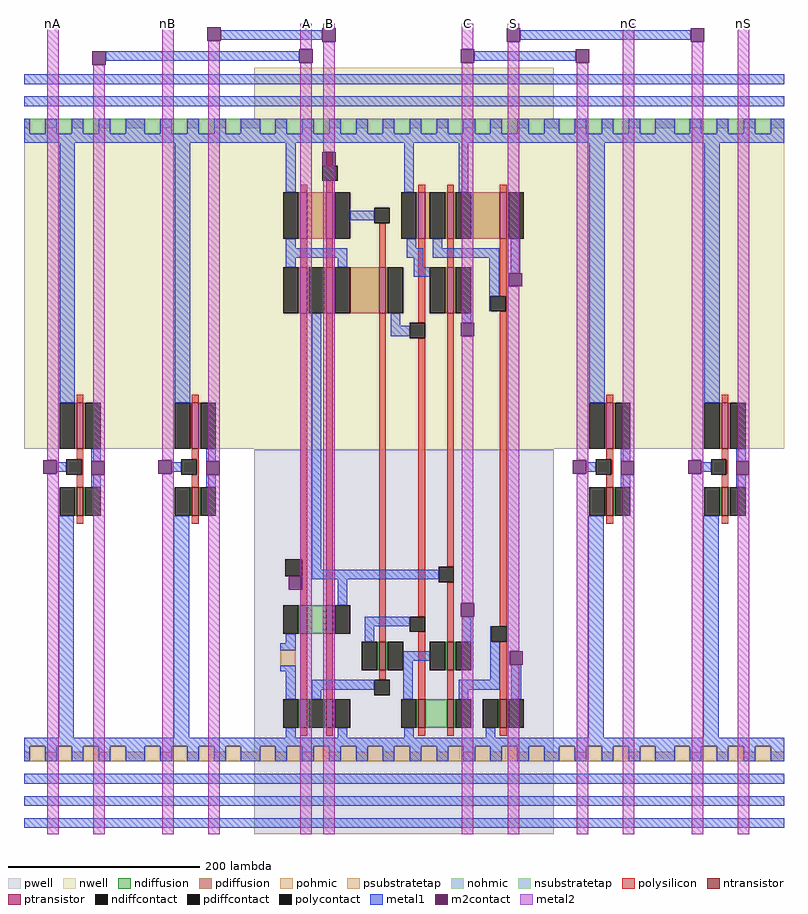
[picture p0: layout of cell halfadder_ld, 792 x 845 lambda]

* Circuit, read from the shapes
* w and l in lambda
.subckt halfadder_ld A B C GND! S Vdd! nA nB nC nS
M1 A nA GND! VSUBS nfet w=30 l=7
M2 B nB GND! VSUBS nfet w=30 l=7
M3 n1 A GND! VSUBS nfet w=30 l=7
M4 n2 A n3 VSUBS nfet w=30 l=7
M5 GND! B n1 VSUBS nfet w=30 l=7
M6 n4 B n2 VSUBS nfet w=30 l=7
M7 GND! n1 n5 VSUBS nfet w=30 l=7
M8 n6 n5 GND! VSUBS nfet w=30 l=7
M9 n7 n4 n6 VSUBS nfet w=30 l=7
M10 C n4 GND! VSUBS nfet w=30 l=7
M11 S n7 GND! VSUBS nfet w=30 l=7
M12 nC C GND! VSUBS nfet w=30 l=7
M13 nS S GND! VSUBS nfet w=30 l=7
M14 A nA Vdd! n8 pfet w=48 l=7
M15 B nB Vdd! n8 pfet w=48 l=7
M16 n4 A Vdd! n8 pfet w=48 l=7
M17 n9 A Vdd! n8 pfet w=48 l=7
M18 Vdd! B n4 n8 pfet w=48 l=7
M19 n1 B n9 n8 pfet w=48 l=7
M20 n5 n1 Vdd! n8 pfet w=48 l=7
M21 n7 n5 Vdd! n8 pfet w=48 l=7
M22 C n4 Vdd! n8 pfet w=48 l=7
M23 Vdd! n4 n7 n8 pfet w=48 l=7
M24 S n7 Vdd! n8 pfet w=48 l=7
M25 nC C Vdd! n8 pfet w=48 l=7
M26 nS S Vdd! n8 pfet w=48 l=7
.ends

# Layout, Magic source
magic
tech c035u
<< metal1 >>
rect 205 828 311 838
rect 517 828 695 838
rect 85 806 287 816
rect 469 806 575 816
<< m2contact >>
rect 191 827 205 841
rect 311 826 325 840
rect 503 826 517 840
rect 695 826 709 840
rect 71 802 85 816
rect 287 804 301 818
rect 455 804 469 818
rect 575 804 589 818
<< metal2 >>
rect 24 799 36 845
rect 72 799 84 802
rect 144 799 156 845
rect 192 799 204 827
rect 288 818 300 845
rect 312 840 324 845
rect 288 799 300 804
rect 312 799 324 826
rect 456 818 468 845
rect 504 840 516 845
rect 456 799 468 804
rect 504 799 516 826
rect 576 799 588 804
rect 624 799 636 845
rect 696 799 708 826
rect 744 799 756 845
use inv inv_1
transform 1 0 0 0 1 0
box 0 0 120 799
use inv inv_0
transform 1 0 120 0 1 0
box 0 0 120 799
use halfadder halfadder_0
transform 1 0 240 0 1 0
box 0 0 312 799
use inv inv_2
transform 1 0 552 0 1 0
box 0 0 120 799
use inv inv_3
transform 1 0 672 0 1 0
box 0 0 120 799
<< labels >>
rlabel metal2 24 845 36 845 5 nA
rlabel metal2 144 845 156 845 5 nB
rlabel metal2 288 845 300 845 5 A
rlabel metal2 312 845 324 845 5 B
rlabel metal2 456 845 468 845 5 C
rlabel metal2 504 845 516 845 5 S
rlabel metal2 624 845 636 845 5 nC
rlabel metal2 744 845 756 845 5 nS
<< end >>

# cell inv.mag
magic
tech c035u
<< nwell >>
rect 0 402 120 746
<< polysilicon >>
rect 55 450 62 458
rect 55 391 62 402
rect 60 375 62 391
rect 55 362 62 375
rect 55 324 62 332
<< ndiffusion >>
rect 53 332 55 362
rect 62 332 64 362
<< pdiffusion >>
rect 53 402 55 450
rect 62 402 64 450
<< pohmic >>
rect 0 76 6 86
rect 22 76 34 86
rect 50 76 62 86
rect 78 76 90 86
rect 106 76 120 86
<< nohmic >>
rect 0 736 6 746
rect 22 736 34 746
rect 50 736 62 746
rect 78 736 90 746
rect 106 736 120 746
<< ntransistor >>
rect 55 332 62 362
<< ptransistor >>
rect 55 402 62 450
<< polycontact >>
rect 44 375 60 391
<< ndiffcontact >>
rect 37 332 53 362
rect 64 332 80 362
<< pdiffcontact >>
rect 37 402 53 450
rect 64 402 80 450
<< psubstratetap >>
rect 6 76 22 92
rect 34 76 50 92
rect 62 76 78 92
rect 90 76 106 92
<< nsubstratetap >>
rect 6 730 22 746
rect 34 730 50 746
rect 62 730 78 746
rect 90 730 106 746
<< metal1 >>
rect 0 782 120 792
rect 0 759 120 769
rect 0 730 6 746
rect 22 730 34 746
rect 50 730 62 746
rect 78 730 90 746
rect 106 730 120 746
rect 0 721 120 730
rect 37 450 53 721
rect 34 378 44 388
rect 70 389 80 402
rect 70 362 80 375
rect 36 101 52 332
rect 0 92 120 101
rect 0 76 6 92
rect 22 76 34 92
rect 50 76 62 92
rect 78 76 90 92
rect 106 76 120 92
rect 0 53 120 63
rect 0 30 120 40
rect 0 7 120 17
<< m2contact >>
rect 20 376 34 390
rect 70 375 84 389
<< metal2 >>
rect 24 390 36 799
rect 34 376 36 390
rect 72 389 84 799
rect 24 0 36 376
rect 72 0 84 375
<< labels >>
rlabel metal1 0 721 0 746 7 Vdd!
rlabel metal1 0 759 0 769 7 Scan
rlabel metal1 0 782 0 792 6 ScanReturn
rlabel metal1 120 721 120 746 7 Vdd!
rlabel metal1 120 759 120 769 7 Scan
rlabel metal1 120 782 120 792 6 ScanReturn
rlabel metal2 24 799 36 799 5 A
rlabel metal2 72 799 84 799 5 Y
rlabel metal1 0 76 0 101 7 GND!
rlabel metal1 0 53 0 63 7 Clock
rlabel metal1 0 30 0 40 7 Test
rlabel metal1 0 7 0 17 8 nReset
rlabel metal1 120 7 120 17 8 nReset
rlabel metal1 120 30 120 40 7 Test
rlabel metal1 120 53 120 63 7 Clock
rlabel metal1 120 76 120 101 7 GND!
rlabel metal2 24 0 36 0 1 A
rlabel metal2 72 0 84 0 1 Y
<< end >>

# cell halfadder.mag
magic
tech c035u
<< nwell >>
rect 0 401 312 799
<< pwell >>
rect 0 0 312 401
<< polysilicon >>
rect 75 697 82 711
rect 48 669 55 677
rect 75 669 82 681
rect 171 669 178 677
rect 201 669 208 677
rect 256 669 263 677
rect 48 591 55 621
rect 75 591 82 621
rect 130 591 137 637
rect 48 287 55 543
rect 50 269 55 287
rect 48 239 55 269
rect 75 239 82 543
rect 48 141 55 209
rect 75 141 82 209
rect 130 201 137 543
rect 171 533 178 621
rect 201 591 208 621
rect 256 561 263 621
rect 262 545 263 561
rect 171 227 178 517
rect 201 279 208 543
rect 130 161 137 171
rect 171 141 178 211
rect 201 201 208 263
rect 256 217 263 545
rect 201 141 208 171
rect 256 141 263 201
rect 48 103 55 111
rect 75 103 82 111
rect 171 103 178 111
rect 201 103 208 111
rect 256 103 263 111
<< ndiffusion >>
rect 46 209 48 239
rect 55 209 75 239
rect 82 209 84 239
rect 128 171 130 201
rect 137 171 139 201
rect 199 171 201 201
rect 208 171 210 201
rect 46 111 48 141
rect 55 111 57 141
rect 73 111 75 141
rect 82 111 84 141
rect 169 111 171 141
rect 178 111 201 141
rect 208 111 210 141
rect 254 111 256 141
rect 263 111 265 141
<< pdiffusion >>
rect 46 621 48 669
rect 55 621 75 669
rect 82 621 84 669
rect 169 621 171 669
rect 178 621 183 669
rect 199 621 201 669
rect 208 621 210 669
rect 226 621 256 669
rect 263 621 265 669
rect 46 543 48 591
rect 55 543 57 591
rect 73 543 75 591
rect 82 543 84 591
rect 100 543 130 591
rect 137 543 139 591
rect 199 543 201 591
rect 208 543 210 591
<< pohmic >>
rect 0 76 6 86
rect 22 76 34 86
rect 50 76 62 86
rect 78 76 90 86
rect 106 76 118 86
rect 134 76 146 86
rect 162 76 174 86
rect 190 76 202 86
rect 218 76 230 86
rect 246 76 258 86
rect 274 76 286 86
rect 302 76 312 86
<< nohmic >>
rect 0 736 6 746
rect 22 736 34 746
rect 50 736 62 746
rect 78 736 90 746
rect 106 736 118 746
rect 134 736 146 746
rect 162 736 174 746
rect 190 736 202 746
rect 218 736 230 746
rect 246 736 258 746
rect 274 736 286 746
rect 302 736 312 746
<< ntransistor >>
rect 48 209 55 239
rect 75 209 82 239
rect 130 171 137 201
rect 201 171 208 201
rect 48 111 55 141
rect 75 111 82 141
rect 171 111 178 141
rect 201 111 208 141
rect 256 111 263 141
<< ptransistor >>
rect 48 621 55 669
rect 75 621 82 669
rect 171 621 178 669
rect 201 621 208 669
rect 256 621 263 669
rect 48 543 55 591
rect 75 543 82 591
rect 130 543 137 591
rect 201 543 208 591
<< polycontact >>
rect 71 681 87 697
rect 125 637 141 653
rect 32 269 50 287
rect 246 545 262 561
rect 162 517 178 533
rect 192 263 208 279
rect 162 211 178 227
rect 125 145 141 161
rect 247 201 263 217
<< ndiffcontact >>
rect 30 209 46 239
rect 84 209 100 239
rect 112 171 128 201
rect 139 171 155 201
rect 183 171 199 201
rect 210 171 226 201
rect 30 111 46 141
rect 57 111 73 141
rect 84 111 100 141
rect 153 111 169 141
rect 210 111 226 141
rect 238 111 254 141
rect 265 111 281 141
<< pdiffcontact >>
rect 30 621 46 669
rect 84 621 100 669
rect 153 621 169 669
rect 183 621 199 669
rect 210 621 226 669
rect 265 621 281 669
rect 30 543 46 591
rect 57 543 73 591
rect 84 543 100 591
rect 139 543 155 591
rect 183 543 199 591
rect 210 543 226 591
<< psubstratetap >>
rect 27 176 43 192
rect 6 76 22 92
rect 34 76 50 92
rect 62 76 78 92
rect 90 76 106 92
rect 118 76 134 92
rect 146 76 162 92
rect 174 76 190 92
rect 202 76 218 92
rect 230 76 246 92
rect 258 76 274 92
rect 286 76 302 92
<< nsubstratetap >>
rect 6 730 22 746
rect 34 730 50 746
rect 62 730 78 746
rect 90 730 106 746
rect 118 730 134 746
rect 146 730 162 746
rect 174 730 190 746
rect 202 730 218 746
rect 230 730 246 746
rect 258 730 274 746
rect 286 730 302 746
<< metal1 >>
rect 0 782 312 792
rect 0 759 312 769
rect 0 730 6 746
rect 22 730 34 746
rect 50 730 62 746
rect 78 730 90 746
rect 106 730 118 746
rect 134 730 146 746
rect 162 730 174 746
rect 190 730 202 746
rect 218 730 230 746
rect 246 730 258 746
rect 274 730 286 746
rect 302 730 312 746
rect 0 721 312 730
rect 33 669 43 721
rect 156 669 166 721
rect 213 669 223 721
rect 100 640 125 650
rect 33 611 43 621
rect 159 611 169 621
rect 186 611 196 621
rect 33 601 97 611
rect 159 601 176 611
rect 186 601 255 611
rect 33 591 43 601
rect 87 591 97 601
rect 166 591 176 601
rect 166 581 183 591
rect 245 561 255 601
rect 267 585 277 621
rect 245 545 246 561
rect 60 276 70 543
rect 142 530 152 543
rect 216 533 226 543
rect 142 519 162 530
rect 60 266 192 276
rect 87 239 97 266
rect 115 217 162 227
rect 33 199 43 209
rect 115 201 125 217
rect 216 201 226 227
rect 27 192 43 199
rect 27 170 43 176
rect 155 181 183 191
rect 33 141 43 170
rect 60 151 125 161
rect 60 141 70 151
rect 155 141 165 181
rect 246 201 247 217
rect 246 161 256 201
rect 213 151 256 161
rect 213 141 223 151
rect 268 141 278 177
rect 33 101 43 111
rect 87 101 97 111
rect 156 101 166 111
rect 241 101 251 111
rect 0 92 312 101
rect 0 76 6 92
rect 22 76 34 92
rect 50 76 62 92
rect 78 76 90 92
rect 106 76 118 92
rect 134 76 146 92
rect 162 76 174 92
rect 190 76 202 92
rect 218 76 230 92
rect 246 76 258 92
rect 274 76 286 92
rect 302 76 312 92
rect 0 53 312 63
rect 0 30 312 40
rect 0 7 312 17
<< m2contact >>
rect 71 697 85 711
rect 265 571 279 585
rect 36 255 50 269
rect 215 519 229 533
rect 215 227 229 241
rect 266 177 280 191
<< metal2 >>
rect 48 269 60 799
rect 72 711 84 799
rect 50 255 60 269
rect 48 0 60 255
rect 72 0 84 697
rect 216 533 228 799
rect 264 585 276 799
rect 264 571 265 585
rect 216 241 228 519
rect 216 0 228 227
rect 264 191 276 571
rect 264 177 266 191
rect 264 0 276 177
<< labels >>
rlabel metal2 48 0 60 0 1 A
rlabel metal2 72 0 84 0 1 B
rlabel metal2 216 0 228 0 1 C
rlabel metal2 264 0 276 0 1 S
rlabel metal2 264 799 276 799 5 S
rlabel metal2 216 799 228 799 5 C
rlabel metal2 72 799 84 799 5 B
rlabel metal2 48 799 60 799 5 A
rlabel metal1 0 76 0 101 3 GND!
rlabel metal1 0 53 0 63 3 Clock
rlabel metal1 0 30 0 40 3 Test
rlabel metal1 0 7 0 17 3 nReset
rlabel metal1 0 721 0 746 3 Vdd!
rlabel metal1 0 759 0 769 3 Scan
rlabel metal1 0 782 0 792 3 ScanReturn
rlabel metal1 312 76 312 101 7 GND!
rlabel metal1 312 53 312 63 7 Clock
rlabel metal1 312 30 312 40 7 Test
rlabel metal1 312 7 312 17 7 nReset
rlabel metal1 312 721 312 746 7 Vdd!
rlabel metal1 312 759 312 769 7 Scan
rlabel metal1 312 782 312 792 7 ScanReturn
<< end >>
